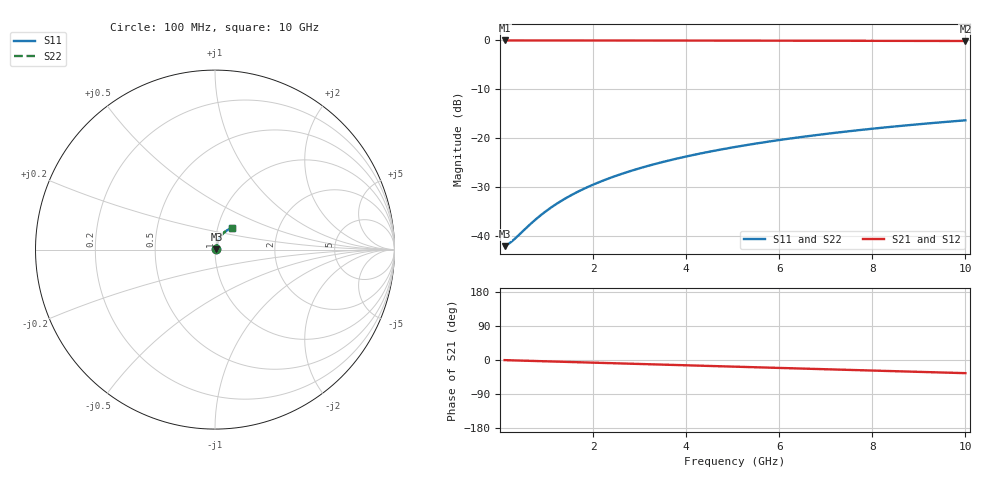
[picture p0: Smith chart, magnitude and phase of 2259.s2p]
# Hz S RI R 50.00
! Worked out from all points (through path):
!   100 points, 100 MHz to 10 GHz, reference 50 ohm
!   highest |S21| = -0.07 dB at 100 MHz (marker M1); lowest = -0.2 dB at 10 GHz (marker M2)
!   group delay of S21, straight-line fit = 9.65 ps
!   lowest |S11| = -42.1 dB at 100 MHz (marker M3), VSWR 1.02, Z = 50.8 + j0.16 ohm
!   |S11| at or under -10 dB: start of sweep to end of sweep
!   |S22| runs from -42.1 to -16.4 dB; largest |S21 - S12| = 0
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1e8  0.0077 0.00158  0.9923 -0.00605  0.9923 -0.00605  0.0077 0.00158
2e8  0.00778 0.00316  0.9922 -0.0121  0.9922 -0.0121  0.00778 0.00316
3e8  0.00786 0.00473  0.992 -0.0181  0.992 -0.0181  0.00786 0.00473
7e8  0.00834 0.011  0.9911 -0.0423  0.9911 -0.0423  0.00834 0.011
8e8  0.0085 0.0126  0.9908 -0.0484  0.9908 -0.0484  0.0085 0.0126
1e9  0.00888 0.0157  0.9901 -0.0604  0.9901 -0.0604  0.00888 0.0157
1.2e9  0.00933 0.0188  0.9892 -0.0725  0.9892 -0.0725  0.00933 0.0188
1.4e9  0.00986 0.022  0.9881 -0.0845  0.9881 -0.0845  0.00986 0.022
1.6e9  0.0105 0.025  0.9869 -0.0966  0.9869 -0.0966  0.0105 0.025
1.8e9  0.0111 0.0281  0.9855 -0.1086  0.9855 -0.1086  0.0111 0.0281
2.1e9  0.0123 0.0327  0.9832 -0.1265  0.9832 -0.1265  0.0123 0.0327
2.5e9  0.0141 0.0387  0.9796 -0.1504  0.9796 -0.1504  0.0141 0.0387
2.9e9  0.0161 0.0447  0.9753 -0.1742  0.9753 -0.1742  0.0161 0.0447
3.4e9  0.0191 0.052  0.9691 -0.2037  0.9691 -0.2037  0.0191 0.052
3.8e9  0.0218 0.0576  0.9635 -0.2271  0.9635 -0.2271  0.0218 0.0576
4.2e9  0.0248 0.0631  0.9573 -0.2504  0.9573 -0.2504  0.0248 0.0631
5.1e9  0.0325 0.075  0.9411 -0.302  0.9411 -0.302  0.0325 0.075
5.9e9  0.0403 0.0847  0.9243 -0.3469  0.9243 -0.3469  0.0403 0.0847
6.7e9  0.0491 0.0936  0.9053 -0.3907  0.9053 -0.3907  0.0491 0.0936
7.5e9  0.0587 0.1016  0.8842 -0.4334  0.8842 -0.4334  0.0587 0.1016
8.4e9  0.0703 0.1095  0.858 -0.48  0.858 -0.48  0.0703 0.1095
1e10  0.0926 0.1201  0.8054 -0.5584  0.8054 -0.5584  0.0926 0.1201
